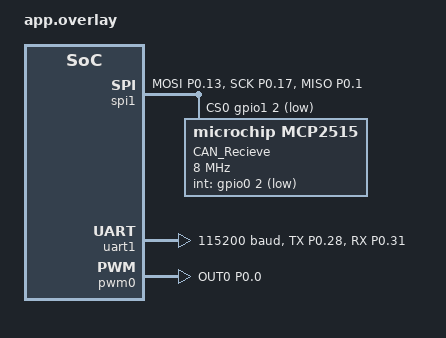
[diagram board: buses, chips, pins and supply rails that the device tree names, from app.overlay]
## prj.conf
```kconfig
CONFIG_STDOUT_CONSOLE=y
CONFIG_UART_ASYNC_API=y 
CONFIG_ADC=y
CONFIG_CAN=y
CONFIG_CAN_MCP2515=y
CONFIG_SPI=y
CONFIG_NEWLIB_LIBC=y 
CONFIG_NEWLIB_LIBC_FLOAT_PRINTF=y 
CONFIG_SERIAL=y   
CONFIG_UART_INTERRUPT_DRIVEN=y
```

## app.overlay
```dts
// Dette er en enhetstre overlay fil. Den brukes for å definere hardware-konfigurasjonen(fenris2024)
// til kernelen under "runtime".(fenris2024)
&spi1 {								//(fenris2024)
	status = "okay";				//(fenris2024)
	pinctrl-0 = <&spi1_default>;	//(fenris2024)
	pinctrl-names = "default";		//(fenris2024)
	cs-gpios = <&gpio1 2 GPIO_ACTIVE_LOW>;			//(fenris2024)
	mcp2515_can: mcp2515@0 {						//(fenris2024)
		compatible = "microchip,mcp2515";			//(fenris2024)
		spi-max-frequency = <8000000>;				//(fenris2024)
		int-gpios = <&gpio0 2 GPIO_ACTIVE_LOW>;		//(fenris2024)
		status = "okay";							//(fenris2024)
		label = "CAN_Recieve";						//(fenris2024)
		reg = <0x0>;								//(fenris2024)
		osc-freq = <16000000>;						//(fenris2024)
		bus-speed = <125000>;						//(fenris2024)
		sjw = <1>;									//(fenris2024)
		prop-seg = <2>;								//(fenris2024)
		phase-seg1 = <7>;							//(fenris2024)
		phase-seg2 = <6>;							//(fenris2024)
		#address-cells = <1>;						//(fenris2024)
		#size-cells = <0>;							//(fenris2024)
	};
}; 	// pinCtrl seksjonen definerer pin konfigurasjonen for de ulike periferene.(fenris2024)

//velger uart1 som det jeg ønsker å konfigurere på den fysiske chippen
&uart1 {

	//setter status som okay så den blir aktivert
	status = "okay";

	//setter baud rate så den matcher det som VESC-firmware bruker
	current-speed = <115200>;

	//for å definere hvilke pins som skal brukes for RX og TX
	pinctrl-0 = <&uart1_default>;

	//setter navn på konfigurasjonen og at den skal brukes som default
	pinctrl-names = "default";
};

&pwm0 {
	status = "okay";
	pinctrl-0 = <&pwm0_default>;
	pinctrl-names = "default";
};

// Én samlet &pinctrl-blokk for alle periferiers pin-konfigurasjon(fenris2024)
// pinCtrl seksjonen definerer pin konfigurasjonen for de ulike periferene. (fenris2024)
// For å vite hvilke GPIO port-nummer og PIN nummer i hver GPIO port som tilhører de ulike pinnene(fenris2024)
// på microbiten sitt GPIO-brett er tabellen på denne nettsiden brukt:(fenris2024)
// https://tech.microbit.org/hardware/edgeconnector/(fenris2024)
&pinctrl {
	spi1_default: spi1_default {
		group1 {
			psels = <NRF_PSEL(SPIM_MOSI, 0, 13)>,
			        <NRF_PSEL(SPIM_SCK, 0, 17)>,
			        <NRF_PSEL(SPIM_MISO, 0, 1)>;
		};
	};

	//for å definere pinne konfigurasjonen for UART1 periferien
	uart1_default: uart1_default {
		
		//lager en gruppe som holder alle pinnevalg for UART1 
		group1 {

			//psels står for pin select og brukes for å koble UART mot fysiske GPIO pinner
			//UART TX skal bruke GPIO port 0 og pinne 28 som tilsvarer p4 på microbit
			//UART RX skal bruke GPIO port 0 og pinne 31 som tilsvarer p3 på microbit
			//denne tabellen er brukt for å forstå dette og referansen er hentet her:
			// https://tech.microbit.org/hardware/edgeconnector/
			psels = <NRF_PSEL(UART_TX, 0, 28)>, //p4
			        <NRF_PSEL(UART_RX, 0, 31)>;   //p3
		};
	};

	pwm0_default: pwm0_default {
		group1 {
			psels = <NRF_PSEL(PWM_OUT0, 0, 0)>; // P0.00 = innebygd speaker
		};
	};
};

// Velger MCP2515 som CAN-enhet(fenris2024)
/ {
	chosen {
		zephyr,canbus = &mcp2515_can;
	};

	aliases {
		pwm-speaker = &pwm0;
	};
};
```

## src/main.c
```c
#include <zephyr/kernel.h>
#include <zephyr/device.h>
#include <stdio.h> //for tilgang til printf()
#include <stdint.h>  //for å bruke faste heltall
#include <stddef.h>  //tilgang til NULL og size_t
#include "vesc_uart.h" //tilgang til funksjoner for å sende RPM til vesc (RS_PROWLTECH)
#include "canbus.h" // tilgang til å hente joystick data fra Can-meldingskø (RS_PROWLTECH)
#include "motorstyring.h"  //beregner og sender motorverdier //(RS_PROWLTECH)

void main(void) {

    //starter UART og venter litt
    uart_start(); //(RS_PROWLTECH)
    k_msleep(100);

    //henter CAN-enhet fra devicetree
    const struct device *const can_dev = get_can_dev();
    if (!can_dev) {
        printf("Error: fant ikke CAN-enhet\n");
        return;
    }

    //starter CAN
    canBegin(can_dev);
    k_msleep(100);

    //Hovedløkka som håndterer innkommende data
    while (1) {
        
        //Henter data fra CAN og sender til motorstyring (RS_PROWLTECH)
        process_can_data();  

        //liten pause
        k_busy_wait(200);  
    }
}
```

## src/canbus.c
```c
#include "canbus.h"
#include "motorstyring.h"

#include <zephyr/sys/byteorder.h>  // sys_le16_to_cpu()
#include <zephyr/kernel.h>         // K_MSGQ_DEFINE, k_uptime_get()
#include <zephyr/drivers/can.h>    
#include <stdio.h>
#include <string.h>
#include <math.h>

//DET SOM ER KODET AV RAMEEZ AHMED SADIQ (PROWLTECH2025) ER KOMMENTERT MED (RS_PROWLTECH)

//can_dev functions(fenris2024)
const struct device *const get_can_dev(void){ // Fuction responsible for finding and accessing the CAN device(fenris2024)
    return DEVICE_DT_GET(DT_CHOSEN(zephyr_canbus)); // Returns the CAN device by looking for it in the devicetree/ overlay file under "chosen"(fenris2024)
} 

//can_receive functions(fenris2024)
K_MSGQ_DEFINE(can_msgq, sizeof(struct can_ret_data), CAN_MSGQ_SIZE, 4); // Message queue function for putting the joystick values received from the com controller node in(fenris2024)

//variabel for å lagre tidspunktet den siste CAN-meldingen ble mottatt som var gyldig
//den blir oppdatert i can_rx_callback
static int64_t last_can_rx_time = 0;

//returnerer verdien som er lagret i last_can_rx_time
int64_t get_last_can_rx_time(void) {
    return last_can_rx_time;
}

//SKREVET AV FENRIS(2024)
void canBegin(const struct device *can_dev){ // Function for startring up and initializing the CAN device(fenris2024)
    //const struct device *const can_dev = get_can_dev(); // Getting the CAN device connected to the system(fenris2024)
    
    if (!can_dev) { // Test that checks if the CAN device is found. If not it will print the error message and return(fenris2024)
        printk("Cannot find CAN device!\n"); //(fenris2024)
        return; //(fenris2024)
    }

    int ret = can_start(can_dev); // Starting up the CAN device (fenris2024)
    if (ret != 0) { // Check to see if the CAN device has started, if not it will print the error message and return (fenris2024)
        printf("Failed to start CAN controller: Error %d\n", ret); //(fenris2024)
        return; //(fenris2024)
    }
    if (setup_can_filter(can_dev, can_rx_callback, NULL) < 0) { // Check to see if the CAN filter is set up or not (fenris2024)
        printk("Failed to add CAN filter\n"); //(fenris2024)
        return; //(fenris2024)
    }

    
}
//skrevet av Fenris2024
int setup_can_filter(const struct device *dev, can_rx_callback_t rx_cb, void *cb_data){ // Function for setting up the can filter, taking in the CAN device, callback function and cb data(fenris2024)
    struct can_filter filter = { // CAN filter for the joystick values(fenris2024)
        .flags = CAN_FILTER_DATA | CAN_FILTER_IDE, // Setting the flags for the filter, where the filter matches the data frames, and that the filter matches CAN frames with extended ID (29-bit)(fenris2024)
	    .id = RECEIVE_ID, // Filter ID set to match the sender ID of the joystick values, defined in the header file(fenris2024)
	    .mask = CAN_EXT_ID_MASK // Filter bit mask for an extended 29-bit CAN ID(fenris2024)
    };
    return can_add_rx_filter(dev, rx_cb, cb_data, &filter); // Returning the rx filter(fenris2024)
}

// Callback for hver mottatt CAN‐frame
void can_rx_callback(const struct device *dev,
                     struct can_frame *frame,
                     void *user_data) {
    // Sjekk at ID og data‐lengde er korrekt (4×2 bytes = 8)
    if (frame->id == RECEIVE_ID && frame->dlc == 8) {
        // Dekode fire int16_t verdier, små‐endian til CPU‐endian
        int16_t f_i = sys_le16_to_cpu(*(int16_t *)&frame->data[0]);
        int16_t v_i = sys_le16_to_cpu(*(int16_t *)&frame->data[2]);
        int16_t r_i = sys_le16_to_cpu(*(int16_t *)&frame->data[4]);
        int16_t s_i = sys_le16_to_cpu(*(int16_t *)&frame->data[6]);

        // Pakk om til flytall (skaler fra 0–100 til 0.0–1.0)
        struct can_ret_data data = {
            .fart     = f_i  / 100.0f,
            .vinkel   = v_i  / 100.0f,
            .rotasjon = r_i  / 100.0f,
            .sving_js = s_i  / 100.0f,
        };

        last_can_rx_time = k_uptime_get();  // ← registrer tid
        // Legg meldingen i kø, håndteres i hovedløkken
        k_msgq_put(&can_msgq, &data, K_NO_WAIT);
    }
}

//can_send functions //skrevet av fenris(2024)

/* Function to convert CAN state to readable string */ //(fenris2024)
const char* can_state_to_str(enum can_state state) { //(fenris2024)
    switch (state) { //(fenris2024)
        case CAN_STATE_ERROR_ACTIVE: //(fenris2024)
            return "ERROR ACTIVE"; //(fenris2024)
        case CAN_STATE_ERROR_WARNING: //(fenris2024)
            return "ERROR WARNING"; //(fenris2024)
        case CAN_STATE_ERROR_PASSIVE: //(fenris2024)
            return "ERROR PASSIVE"; //(fenris2024)
        case CAN_STATE_BUS_OFF: //(fenris2024)
            return "BUS OFF"; //(fenris2024)
        case CAN_STATE_STOPPED: //(fenris2024)
            return "STOPPED"; //(fenris2024)
        default: //(fenris2024)
            return "UNKNOWN"; //(fenris2024)
    }
}

//skrevet av fenris2024
void send_string(const struct device *can_dev, const char *str){ // Function for sending a string over the bus(fenris2024)
    struct can_frame frame; // Using a CAN frame struct called frame(fenris2024)
    memset(&frame, 0, sizeof(frame)); // Zeros out the frame to ensure that all bits starts in a knwown state(fenris2024)

    frame.flags = CAN_FRAME_IDE; // Use extended identifier(fenris2024)
    frame.id = MSG_ID; // Using the message ID for the frame that is defined in the header file(fenris2024)
    frame.dlc = strlen(str);  // Set the DLC to the string length(fenris2024)
    memcpy(frame.data, str, frame.dlc);  // Copies the string to the CAN frame data field(fenris2024)

    if (can_send(can_dev, &frame, K_SECONDS(10), NULL, NULL) != 0) { // If test that sends the frame on the bus, and prints out a warning if it failes(fenris2024)
            printk("Failed to send frame\n"); //(fenris2024)
        } /*else {
            printk("Frame sent\n");
        }*/ //(fenris2024)
}

//(RS_PROWLTECH)
// funksjonen sjekker om det finnes noen nye CAN-meldinger i meldingskøen
//Hvis meldingen finnes blir den pakket ut og sendt videre til motorstyringsystemet
void process_can_data(void) { 

    //oppretter en variabel av typen can_ret_data, som kan holde på dataen som hentes ut av meldingskøen
    //struct skal samle dataene fart, vinkel, rotasjon og sving_js
    struct can_ret_data data;

    // Prøver å hente neste CAN-melding uten å blokkere og bruker K_NO_WAIT for å ikke vente, bare sjekke om noe er klart
    if (k_msgq_get(&can_msgq, &data, K_NO_WAIT) == 0) {

        // Skriver ut dataen som er mottatt, verdiene vises med to desimaltegn
        printf("[Fra PI til Microbit] fart=%.2f, vinkel=%.2f, rot=%.2f, sving_js=%.2f\n",
               data.fart, data.vinkel,
               data.rotasjon, data.sving_js);

        // De mottatte verdiene sendes videre til motorstyring for beregning
        kontroller_motorene(
            data.fart,
            data.vinkel,
            data.rotasjon,
            data.sving_js
        );
    }
}
```

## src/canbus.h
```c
#ifndef CANBUS_H
#define CANBUS_H

#include <zephyr/drivers/can.h>  //(fenris2024)
#include <zephyr/kernel.h>       //for å få tilgang til zephyr sine funksjoner k_busy_wait() og k_msleep(), brukes til venting og pauser
#include <stdint.h>              // Standard faste heltallstyper

//can_receive functions(fenris2024)
#define RECEIVE_ID 0x0000001 // RECEIVE ID (fenris2024)
#define CAN_MSGQ_SIZE 10 // Message queue size (fenris2024)
//can_send functions
#define MSG_ID 0x0000002 // Message ID (fenris2024)

//(RS_PROWLTECH)
//definerer en struct som samler og holder på all data som mottas fra fjernkontrollen via CAN
struct can_ret_data {

    //hvor fort bilen skal bevege seg. 
    // 0.0 = full stopp
    // 1.0 = maks fart 
    float fart;      

     //hvilken retning bilen skal bevege seg i (0 til 2pi radianer) 
    // 0 = rett frem
    // pi/2 = mot venstre
    // pi =  bakover
    // 3pi/2 =  mot høyre
    float vinkel;    

    //Den rotasjonen vi ønsker rundt egen akse
    // -1.0 = roter mot venstre
    // 0.0 = ingen rotasjon
    // 1.0 = roter mot høyre
    float rotasjon;

    //ekstra finjustering for sving fra en egen styrespak, for at bilen skal svinge som en ekte bil.
    float sving_js;
//(RS_PROWLTECH - SLUTT)
}; 

void canBegin(const struct device *can_dev); // Function for initializing and starting the CAN device(Fenris2024)

void canState(const struct device *can_dev); // Function for checking the CAN state(fenris2024)

//can_dev functions
const struct device *const get_can_dev(void); // Function for getting the CAN device(fenris2024)

extern struct k_msgq can_msgq; // Message queue structure(fenris2024)

int setup_can_filter(const struct device *dev, can_rx_callback_t rx_cb, void *cb_data); // Function for setting up the can filter, taking in the CAN device, callback function and cb data(fenris2024)

void can_rx_callback(const struct device *dev, struct can_frame *frame, void *user_data); // Function for checking CAN frames on the bus(fenris2024)

void process_can_data(void); // Function for processing the receievd CAN data (fenris)


void send_string(const struct device *can_dev, const char *str); // Function for sending a string over the bus(fenris2024)

//for å returnere når CAN mottok en melding sist. 
int64_t get_last_can_rx_time(void);  

const char* can_state_to_str(enum can_state state); // Function that converts the CAN states to string(fenris2024)

#endif // CANBUS_H
```

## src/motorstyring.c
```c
#include "motorstyring.h"
#include "vesc_uart.h"
#include <stdio.h>
#include <math.h> //for å få tilgang til mattefunksjoner som cos(),sin(),fmaxf() og fabsf()
#include <zephyr/kernel.h> //for å få tilgang til zephyr sine funksjoner k_busy_wait() og k_msleep(), brukes til venting og pauser

//MOTORSTYRING.C  ER KODET AV RAMEEZ AHMED SADIQ (PROWLTECH2025)

#define NUM_MOTORS 4 //definerer antall motorer på bilen
#define MAX_RPM 20000  // definerer at motorene kan maks rotere 20 000 rpm

//Funksjon som regner ut hvor mye hver motor skal bidra med for å oppnå ønsket fart, vinkel, rotasjon og sving
struct MotorVerdier kalkulerMotorVerdier(

    //hvor fort bilen skal bevege seg. 
    // 0.0 = full stopp
    // 1.0 = maks fart 
    float fart,

    //hvilken retning bilen skal bevege seg i (0 til 2pi radianer) 
    // 0 = rett frem
    // pi/2 = mot venstre
    // pi =  bakover
    // 3pi/2 =  mot høyre
    float vinkel,

    //Den rotasjonen vi ønsker rundt egen akse
    // -1.0 = roter mot venstre
    // 0.0 = ingen rotasjon
    // 1.0 = roter mot høyre
    float rotasjon,

    //ekstra finjustering for sving fra en egen styrespak, for at bilen skal svinge som en ekte bil.
    float sving_js){ 

    //Hvis bilen står stille og RB/LB trykkes så vil bilen rotere med en fast hastighet.
    //trykkes en annen kjøreknapp så stoppes rotasjonen.
    if (fart == 0.0f && rotasjon != 0.0f) {

        //bruker 0.3f fordi maks rpm er satt til 20tusen, ved å bruke 0.3 * 20tusen
        //så blir rotasjonsfarta 6tusen rpm, fast og kontrollert.
        float rotering;
        if (rotasjon > 0) {
            rotering = 0.3f;
        } else {
            rotering = -0.3f;
        } 

        return (struct MotorVerdier) {

            //foran venstre (går bakover, negativ retning)
            -rotering, 

            // foran høyre (går fremover, positiv retning)
            rotering, 

            //bak venstre (går bakover, negativ retning)
            -rotering,
            
            //bak høyre (går fremover, positiv retning)
            rotering

            
        };
    }

    
    //regner ut hvor mye bevegelse som skal være i X-retning (sideveis)
    //Omgjør fart og vinkel til en x-verdi
    //sinf(vinkel) gir hvor mye som skal gå i X-retning
    float x = fart * sinf(vinkel);

    //regner ut hvor mye bevegelse som skal være i Y-retning (fremover/bakover)
    //Omgjør fart og vinkel til en Y-verdi
    //cosf(vinkel) gir hvor mye som skal gå i Y-retning
    // X og Y tilsammen er en bevegelsesvektor som
    float y = fart * cosf(vinkel);

    //for å legge til ekstra sidebevegelse (sving) fra joystick for svinging
    //sving_js ganges med 0.5f for å unngå for brå/kraftig svingeffekt.
    x += sving_js * 0.5f;

    //for å regne ut hvor mye bidrag hvert hjul må tilføre for å kunne bevege fremover, bakover eller sideveis
    //verdiene y og x er fremdrift og sidebevegelse

    //foran venstre (kombinerer retning fremover og høyre bevegelse)
    float foran_venstre = y + x;

    //foran høyre hjul (kombinerer retning fremover og venstre bevegelse)
    float foran_høyre = y - x;

    //bak_venstre (kombinerer retning bakover og venstre bevegelse)
    float bak_venstre = y - x;

    //bak høyre (kombinerer retning bakover og høyre bevegelse)
    float bak_høyre = y + x;
    

    //Etter at det har blitt beregnet hvor mye hvert hjul må bidra med er det viktig å normalisere verdiene
    //normaliserer verdiene for å unngå at noen av verdiene overstiger -0.1 eller 0.1
    //overstiger de dette kan det føre til uforventet bevegelser

    //finner den største absoluttverdien av motorverdiene.
    //bruker funksjonen fmaxf som kan sammenligne to verdier om gangen
    //bruker fmaxf på de to hjulene foran for å finne den største verdien av de to hjulene foran
    //bruker fmaxf på de to hjulene bak for å finne den største verdien av de to hjulene bak
    //bruker deretter fmaxf på begge fmaxf verdiene for å finne hvilken verdi 
    //som er størst av den største foran og største bak
    //den største verdien av de fire legges deretter i "maxverdi"
    float maksverdi = fmaxf(
        fmaxf(fabsf(foran_venstre), fabsf(foran_høyre)), fmaxf(fabsf(bak_venstre), fabsf(bak_høyre)));

    //hvis maksverdi er større enn 1.0f må vi skalere og dette gjøres ved å dele alle 
    //hjulverdiene på maksverdien vi fant. 
    if (maksverdi > 1.0f) {
        foran_venstre /= maksverdi;
        foran_høyre /= maksverdi;
        bak_venstre /= maksverdi;
        bak_høyre /= maksverdi;
    }

    //returnerer de beregnede verdiene vi fikk etter normalisering som en struct
    //og har sikret at ingen av hjulverdiene overstiger 1.0.
    return (struct MotorVerdier) {
        foran_venstre,
        foran_høyre,
        bak_venstre,
        bak_høyre
    };
}

//lager en statisk variabel som husker verdien mellom hver gang funksjonen kalles og brukes til
//å gjøre overgangen mykere ved å gradvis nærme seg ønsket fart slik at 
//bilen ikke rykker, bråstopper eller bråstarter når joystick-verdier endres.
static float gjeldende_fart = 0.0f;

//samme prinsipp som nevnt over
static float gjeldende_vinkel = 0.0f;

//samme prinsipp som nevnt over
static float gjeldende_sving_js = 0.0f;

//for å angi hvor mye verdiene skal endres gradvis per funksjons kall
static const float endring = 0.2f;

//hovedfunksjonen som styrer motorene basert på joystick-verdier i form av "ønsket_"
int kontroller_motorene(float ønsket_fart, float ønsket_vinkel, float ønsket_rotasjon, float sving_js) {
    
    //skriver ut alle joystick-verdier i sanntid for å overvåke.
    printf("fart=%.2f, vinkel=%.2f, rotasjon=%.2f, sving=%.2f\n", ønsket_fart, ønsket_vinkel, ønsket_rotasjon, sving_js);

    
    //Her sjekkes det om gjeldende_fart er lavere enn ønsket_fart
    if (gjeldende_fart < ønsket_fart)

        //hvis gjeldende_fart er lavere enn ønsket_fart, økes farten gradvis med "endring", for å gi en mykere akselerasjon
        //farten økes med 0.2f og deretter blir fminf funksjonen for å sjekke hvem av gjeldende_fart+endring
        //og ønsket_fart er minst. gjeldende_fart lagrer verdien til den minste for å unngå at den overstiger 
        //ønsket_fart, i siste steg.
        gjeldende_fart = fminf(gjeldende_fart + endring, ønsket_fart);

        //sjekkes om gjeldende_fart er større enn ønsket_fart
    else if (gjeldende_fart > ønsket_fart)

        //bruker fmaxf funksjonen til å lagre den største farta av gjeldende_fart-endring og ønsket_fart
        //det gjøres hvis farta er høyere enn den joystick-verdien bruker sender så det gradvis
        //går ned mot ønsket fart og unngå å overstige ønsket_fart i siste steg
        gjeldende_fart = fmaxf(gjeldende_fart - endring, ønsket_fart);
    
    //sjekker om gjeldende_vinkel er lavere enn ønsket_vinkel
    //hvis den er det, økes vinkelen litt og litt med "endring" som er 0.2f for å gi en jevn overgang
    //dette gir en gradvis dreining i stede for brå endring i retning
     if (gjeldende_vinkel < ønsket_vinkel)
        gjeldende_vinkel += endring;
    
    //hvis gjeldende_vinkel er høyere enn ønsket_vinkel, reduseres den litt og litt
    //dette gjør at bilen roterer jevnt tilbake i motsatt retning
    else if (gjeldende_vinkel > ønsket_vinkel)
         gjeldende_vinkel -= endring;


    //sjekker om gjeldende_sving_js er lavere enn verdien fra joystick-sving
    //hvis den er det, så økes verdien gradvis for å få en myk og kontrollert sving
    //ungår at bilen plutselig rykker seg til siden
    if (gjeldende_sving_js < sving_js)
        gjeldende_sving_js += endring;


    //hvis gjeldende_sving_js er høyere enn sving_js blir den redusert gradvis
    //dette gir en jevn tilbakeføring når bruker slipper joystick spaken tilbake til midten
    else if (gjeldende_sving_js > sving_js)
        gjeldende_sving_js -= endring;  

    //hvis bilen står stille og bruker ønsker rotasjon og trykker eller holder rotasjonknapp inne
    if (gjeldende_fart == 0.0f && ønsket_rotasjon != 0.0f){

        //hvis ønsket_rotasjon er større enn 0 så roterer bilen rolig mot høyre
        //hvis ønsket_rotasjon er mindre enn 0 så roterer bilen rolig mot venstre
        //dette fordi negativ verdi gir rotasjon mot venstre og
        //positiv verdi gir  mot høyre
        float rotering;
        if (ønsket_rotasjon > 0) {
            rotering = 0.3f;
        } else {
            rotering = -0.3f;
        }

        //definerer hvordan hvert hjul skal rotere for å få rotasjon rundt sin egen akse
        //hvis verdi er 0.3 får vi hjulverdiene -0.3, 0.3, -0.3, 0.3 som gir rotasjon mot høyre
        //Hvis verdi er -0.3 får vi hjulverdiene 0.3, -0.3, 0.3, -0.3 som gir rotasjon mot venstre
        struct MotorVerdier rotasjon_motorverdier = {
            -rotering, //foran venstre
             rotering, //foran høyre
            -rotering, //bak venstre
             rotering  // bak høyre

        };
    
        //gjør motorbidrag om til faktisk RPM-verdier fra -1.0 til 1.0
        //Bruker definert max rpm for å skalere. at for eks hvis motorbidrag er 0.3, blir rpm verdien 6000 rpm
        //alle verdier typecastes til int32_t fordi vesc_protokollen bruker heltall for RPM
        //denne er kun for rotasjon og sjekkes først fordi den kjøres fra stillestående tilstand
        int32_t rpm[NUM_MOTORS] = {
            (int32_t)(rotasjon_motorverdier.foran_venstre * MAX_RPM),
            (int32_t)(rotasjon_motorverdier.foran_høyre * MAX_RPM),
            (int32_t)(rotasjon_motorverdier.bak_venstre * MAX_RPM),
            (int32_t)(rotasjon_motorverdier.bak_høyre * MAX_RPM),
        
        };
        
        //lager en array med ID for hver VESC-enhet. 
        //0 er master enheten som er koblet direkte til microbit via UART
        //1,2,3 er slave-enheter som styres via CAN-forwarding
        uint8_t vesc_id[NUM_MOTORS] = {0, 1, 2, 3};

        //for løkke som går igjennom alle motorene en etter en
        for (int i = 0; i < NUM_MOTORS; i++) {

            //hvis vesc_id[i] er 0 så sendes rpm med "send_rpm()"-funksjonen 
            //send-rpm() sender vesc-pakken som er ment for master-enheten
            //fordi 0 er master-enhet
            if(vesc_id[i] == 0) {
                send_rpm(rpm[i]);

            //hvis ID ikke er 0 så brukes send_rpm_videre funksjonen
            //fordi den sender vesc-pakken som er ment for slave-enhetene
            } else {
                send_rpm_videre(vesc_id[i], rpm[i]);
            }

            //liten pause mellom hver sending for å unngå at VESC-enhetene blir overbelastet
            k_msleep(1);

        }    
        //returnerer 0 så det blir bekreftet at funksjonen kjørte uten feil
        return 0;
    }

//Her kalles funksjonen kalkulerMotorVerdier() for å beregne hvor mye hver motor skal bidra
//gjeldende_fart og gjeldende_vinkel brukes for å styre retning og fart
//rotasjon blir satt til 0 fordi bilen ikke skal rotere rundt egen akse i denne delen
//gjeldende sving_js brukes for å legge til jevn sving fra joystick
struct MotorVerdier gjeldendeMotorVerdier = kalkulerMotorVerdier(
    gjeldende_fart,
    gjeldende_vinkel,
    0.0f,
    gjeldende_sving_js
);

//gjør motorbidrag om til faktisk RPM-verdier fra -1.0 til 1.0
//Bruker definert max rpm for å skalere. Hvis motorbidrag er 0.3, blir rpm verdien 6000 rpm
//alle verdier typecastes til int32_t fordi vesc_protokollen bruker heltall for RPM
//denne brukes under vanlig bevegelse basert på joystick-input
int32_t rpm_gjeldende[NUM_MOTORS] = {
        (int32_t)(gjeldendeMotorVerdier.foran_venstre * MAX_RPM),
        (int32_t)(gjeldendeMotorVerdier.foran_høyre * MAX_RPM),
        (int32_t)(gjeldendeMotorVerdier.bak_venstre * MAX_RPM),
        (int32_t)(gjeldendeMotorVerdier.bak_høyre * MAX_RPM),
        
};

//lager en array med ID for hver VESC-enhet. 
//0 er master enheten som er koblet direkte til microbit via UART
//1,2,3 er slave-enheter som styres via CAN-forwarding
uint8_t vesc_id_gjeldende[NUM_MOTORS] = {0, 1, 2, 3};

//for løkke som går igjennom alle motorene en etter en
for (int i = 0; i < NUM_MOTORS; i++) {

    //hvis vesc_id[i] er 0 så sendes rpm med "send_rpm()"-funksjonen 
    //send-rpm() sender vesc-pakken som er ment for master-enheten
    //fordi 0 er master-enhet
    if(vesc_id_gjeldende[i] == 0) {
        send_rpm(rpm_gjeldende[i]);
    
    //hvis ID ikke er 0 så brukes send_rpm_videre funksjonen
    //fordi den sender vesc-pakken som er ment for slave-enhetene
    } else {
        send_rpm_videre(vesc_id_gjeldende[i], rpm_gjeldende[i]);
        }

        //liten pause mellom hver sending for å unngå at VESC-enhetene blir overbelastet
        k_msleep(1);

    }   
    //returnerer 0 så det blir bekreftet at funksjonen kjørte uten feil 
    return 0;
}
```

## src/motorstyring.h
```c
#ifndef MOTORSTYRING_H
#define MOTORSTYRING_H

//MOTORSTYRING.H ER SKREVET AV RAMEEZ SADIQ (PROWLTECH2025)
// Struct som holder output‐verdier for de fire hjulene
struct MotorVerdier {
    float foran_venstre;
    float foran_høyre;
    float bak_venstre;
    float bak_høyre;
};

// Kalkulerer motor‐verdier for fart, vinkel, rotasjon og sving_js
struct MotorVerdier kalkulerMotorVerdier(
    float fart,
    float vinkel,
    float rotasjon,
    float sving_js
);

// funksjon som tar inn joystick‐data og sender RPM til hjul
int kontroller_motorene(
    float fart,
    float vinkel,
    float rotasjon,
    float sving_js
);

#endif // MOTORSTYRING_H
```

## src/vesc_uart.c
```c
#include "vesc_uart.h" 
#include <stdio.h>
#include <string.h>
#include <zephyr/drivers/uart.h> // for å få tilgang til zephyr sin UART-driver og UART-funksjoner som uart_poll_out(), funksjonen sender en og en byte via UART
#include <zephyr/kernel.h> //for å få tilgang til zephyr sine funksjoner k_busy_wait() og k_msleep(), brukes til venting og pauser
#include <zephyr/device.h> //for å få tilgang til zephyr sine funksjoner DEVICE_DT_GET() og device_is_ready(), henter og sjekker status på enheter
#include <zephyr/devicetree.h> //for å få tilgang til DT_NODELABEL(), som brukes for å hente uart konfigurasjonen fra devicetreet

#define UART_NODE_LABEL DT_NODELABEL(uart1) //zephyr ser i devicetree og i min app.overlay fil etter en node som heter "uart1" og lagrer referansen i UART_NODELABEL

//HELE VESC_UART.C ER SKREVET AV (RAMEEZ SADIQ PROWLTECH)

//Lager en peker og kalt uart1_enhet, den skal holde på UART-enheten. Den starter som null og får verdi senere av DEVICE_DT_GET
//uart1_enhet er
static const struct device *uart1_enhet = NULL; 

//denne funksjonen tar inn en array med bytes, som er selve dataen som skal sendes, og lengden defineres, altså hvor hvor mange bytes dataen består av.
//Den skal returnere en CRC-verdi som er på 16 bit. CRC-verdien skal brukes til å sjekke at dataen i pakken ikke er skadet
//Lager en peker til array med bytes og bruker const for å sikre at innholdet ikke endres, og bruker size_t for å definere lengden på data
//lager et register kalt crc for bytene med startverdi 0, når bytene behandles bygges CRC-verdien opp.
static uint16_t crc16_beregning(const uint8_t *data, size_t len){

    //når alle bytes er behandlet returneres CRC som en kontrollsum.
    uint16_t crc = 0;
    

    //for løkke som går igjennom hver byte i data-array, starter på indeks 0 og fortsetter til alle bytes (len) er behandlet
    for (size_t i = 0; i < len; i++) {
    
        //data[i] brukes for å hente en byte fra data-arrayet og caster til 16-bit så den kan brukes med CRC-registeret
        // <<8 brukes for å flytte byten 8 biter til venstre og plasseres i øverste halvdel i CRC-registeret
        //bruker XOR for å blande byten inn i CRC-registeret. denne sammenlingningen gjør at CRC blir endret basert på ny data som blir lagt inn.
        crc ^= (uint16_t)data[i] << 8;
        
        //bruker en for løkke for å gå igjennom alle 8 bit i byten - CRC blir beregnet bit for bit. 
        for (int bit = 0; bit < 8; bit++) {

            //sjekker om den øverste biten(den mest signifikante biten, som er til venstre) i CRC-registeret er 1
            if (crc & 0x8000) {

                //Hvis den er 1, så betyr det at CRC-registeret inneholder et aktivt polynomledd, så skiftes CRC-registeret et steg til venstre og CRC-registeret blir XOR'a med polynomet 0x1021
                crc = (crc << 1) ^ 0x1021;

                //Hvis den er 0, blir registeret bare skiftet et steg til venstre og ingen XOR blir utført
            } else { 
                crc <<= 1;
            }
        }
    }
    //Returnerer hele CRC-registeret etter behandlingen av hele datasettet
    return crc;
}

    //Denne funksjonen starter opp UART1, henter UART1 enheten fra devicetree og sjekker at den er klar
    void uart_start(void){

        //Henter UART1 fra devicetreet og lagrer dens referanse i uart1_enhet
        uart1_enhet = DEVICE_DT_GET(UART_NODE_LABEL);

        //Sjekker om den er klar, hvis den ikke er klar printes det ut en beskjed om det, device_is_ready er en zephyr funksjon.
        if (!device_is_ready(uart1_enhet)) {
            printf("UART1 er ikke klar\n");

        //Hvis den er klar, printes det ut en melding om at UART1 har startet
        } else {

            //uart1_enhet peker til en struct device i Zephyr, name har navnet som har blitt satt som navnet på enheten i devicetree
            printf("UART1 har startet: %s\n", uart1_enhet->name);

        }
}    

//funksjon for å sende RPM-verdi
void send_rpm(int rpm) {

    //sjekker at UART har startet og hvis ikke så printes beskjed om det og funksjonen avsluttes
    if (!uart1_enhet) {
        printf("UART har ikke startet\n");
        return;
    }


    //Bygger innholdet som skal puttes i rammen, består av kommando og data
    // lager en array på 5 bytes for informasjonen som skal sendes. 1 byte for kommando og 4 bytes for selve dataen som er RPM-verdi
    //VESC firmware definerer rpm-verdi som int32_t
    uint8_t kommando_og_data[1 + sizeof(int32_t)];

    // her setter vi hva den første byten er, det er kommandoen som vi gir til VESC-enheten, at den skal endre RPM-verdien til det vi ønsker.
    kommando_og_data[0] = COMM_SET_RPM;

    //Dette gjør rpm verdien fra little-endian til big-endian, som betyr at rekkefølgen på bytene i tallet/verdien vi sender snus
    //Dette gjør at første tallet blir til den mest betydningsfulle fordi det VESC-enheten leser tallene i big-endian formatet.
    int32_t rpm_big_endian = __builtin_bswap32(rpm);

    //bruker memory copy funksjonen for å kopiere antall bytes fra en plass i minnet til en annen plass
    //[0] ble brukt for å putte kommando , bruker [1] for å putte selve rpm verdien i de siste 4 bytene.
    //lager to pekere sånn at memcpy funksjonen kopierer 4 byte fra rpm_big_endian og putter i kommando_og_data arrayet.
    memcpy(&kommando_og_data[1], &rpm_big_endian, sizeof(rpm_big_endian));

    // her lager jeg en variabel som heter crc den bruker funksjonen for CRC-beregning, returnerer en 16bit verdi. denne verdien lagres da i CRC variabelen
    //verdien er kontrollsummen for å se om dataen i rammen er skadet.
    uint16_t crc = crc16_beregning(kommando_og_data, sizeof(kommando_og_data));

    //Bygger rammen til hele datapakken så den følger VESC-protokollen, 12 bytes.
    //I rammen er det: 
    //1 startbyte
    //1 byte for lengden
    //antall bytes på selve innholdet(kommando og rpm) 
    //2 bytes for CRC
    //1 sluttbyte
    uint8_t ramme[2 + sizeof(kommando_og_data) + 2 + 1];

    //lager en variabel for å ha kontroll hvor i rammen(arrayet) vi skal legge inn neste byte
    size_t indeks = 0;

    //første byte for rammen som er startbyte (starten på rammen)
    ramme[indeks++] = VESC_STX;

    //Andre byte i pakken for å angi hvor mange byte det er i innholdet (lengden)
    ramme[indeks++] = (uint8_t)sizeof(kommando_og_data);

    //kopierer all data fra kommando_og_data og putter i ramme[indeks] og øker etterpå indeksen for å peke videre så hele innholdet kommer med
    memcpy(&ramme[indeks], kommando_og_data, sizeof(kommando_og_data)); indeks += sizeof(kommando_og_data);

    //setter inn den øverste byten av CRC-sjekksummen
    ramme[indeks++] = (uint8_t)(crc >> 8);

    //legger inn den nederste(minste) byten av CRC-sjekksummen
    ramme[indeks++] = (uint8_t)(crc & 0xFF);

    //legger til sluttbyte for å indikere slutten på rammen
    ramme[indeks++] = VESC_ETX;


    //bruker en for løkke for å sende 1 og 1 byte over til VESC-enheten
    //uart_poll_out sender en byte og venter til linjen er klar før neste blir sendt
    for (size_t i = 0; i < indeks; i++){
    uart_poll_out(uart1_enhet, ramme[i]);

    //har en liten pause mellom hver byte så VESC ikke mister data under overføringen
    k_busy_wait(100); //100 mikrosekunder mellom bytes
    }

    //printer ut hvor mange RPM som har blitt sendt
    printf("RPM-pakke sendt: %d RPM\n", rpm);
}

//denne funksjonen tar inn 2 parameter 
//en VESC-enhet_id som parameter,så den vet hvilken spesifikk VESC-enhet den skal sende til
//og den tar inn en RPM verdi som parameter, det er denne verdien som skal sendes til VESC-enheten
void send_rpm_videre(uint8_t VESC_enhet_id, int32_t rpm) {

    //Sjekker at UART har startet og hvis ikke så sender den ikke data
    if (!uart1_enhet) {
        return;
    }

    //siden C bruker little endian(minst signifikante) først, men VESC-protocol krever big endian(mest signifikante) først
    //kompilatoren har en innebygget funksjon som gjør denne endringen, derfor brukes __builtin_bswap32
    int32_t rpm_big_endian = __builtin_bswap32(rpm);

    //lager et array som heter kommando_og_data som inneholder VESC-data vi skal sende på totalt 7 bytes
    //første byte for COMM_FORWARD_CAN
    //andre byte for VESC_enhet_id
    //tredje byte for COM_SET_RPM
    //4 bytes for rpm-verdien
    uint8_t kommando_og_data[1 + 1 + 1 + sizeof(rpm_big_endian)];

    //plass brukes for å fortelle hvor i arrayet vi er, og starter på plass 0
    size_t plass = 0; 
    
    //legger COM_FORWARD_CAN i plass 0 (første byte) og øker plass med 1 (flytter til neste plass på array)
    kommando_og_data[plass++] = COMM_FORWARD_CAN;

    //legger VESC_enhet_id i plass 1 (andre byte) og øker plass med 1 (flytter til neste plass på array)
    kommando_og_data[plass++] = VESC_enhet_id;

    //legger COM_SET_RPM i plass 2 (tredje byte) og øker plass med 1 (flytter til neste plass på array)
    kommando_og_data[plass++] = COMM_SET_RPM;

    //bruker memcpy funksjonen til å kopiere bytes fra et sted til et annet
    //oppgir først hvor det skal kopieres til, kommando_og_data arrayet og den plassen vi har kommet til, "&" brukes å angi adressen
    // oppgir deretter hvor vi skal kopiere fra som er rpm_big_endian og "&" brukes for å hente adressen til første byten
    // oppgir deretter hvor mange bytes som skal kopieres og da brukes sizeof(rpm_big_endian)
    memcpy(&kommando_og_data[plass], &rpm_big_endian, sizeof(rpm_big_endian));

    //nå som 4 bytes til har blitt lagt inn må vi flytte plassen på arrayet til slutten så ikke noe blir overskrevet hvis det senere skal legges til flere bytes.
    //bruker sizeof(rpm_big_endian) her også fordi det i teorien betyr å flytte plassen 4 bortover siden den er på 4 bytes.
    plass += sizeof(rpm_big_endian);

    //bruker funksjonen crc16_beregning for å beregne en crc-sjekksum 
    //for å sikre at kommandoen og dataen som sendes ikke er skadet eller endret underveis
    //bruker sizeof så den bruker lengden til kommando_og_data (7 bytes)
    uint16_t crc = crc16_beregning(kommando_og_data, sizeof(kommando_og_data));

    //lager et array for datapakken som skal videresendes til VESC-enhet
    //pakken er på totalt 12 bytes
    //1 for startbyte
    //1 for lengden
    //7 for innholdet(COMM_FORWARD_CAN),(VESC_enhet_id),(COM_SET_RPM)(rpm-verdi)
    //2 for crc
    //1 for sluttbyte
    uint8_t ramme[ 2 + sizeof(kommando_og_data) + 2 + 1];

    //setter startposisjon i rammen på indeks 0 så innlegging av bytes starter her
    size_t indeks = 0;

    //flytter posisjon med en og legger inn startbyte
    ramme[indeks++] = VESC_STX;

    //legger inn 1 byte for lengden på selve innholdet (teller ikke med startbyte,sluttbyte,crc)
    ramme[indeks++] = (uint8_t)sizeof(kommando_og_data);

    //kopierer det som er i kommando_og_data, antall bytes som må kopieres, og legger det inn i ramme
    memcpy(&ramme[indeks], kommando_og_data, sizeof(kommando_og_data)); 

    //flytter posisjon i array til slutten, utifra lengden på kommando_og_data (7 bytes)
    indeks += sizeof(kommando_og_data);

    //flytter posisjon med 1 så det vi la inn ikke blir overskrevet og legger inn CRC-register (mest signifikante bit først)
    ramme[indeks++] = (uint8_t)(crc >> 8);

    //flytter posisjon og legger inn i CRC-register (den minste signifikate bit)
    ramme[indeks++] = (uint8_t)(crc & 0xFF);

    //flytter posisjon og legger inn sluttbyte for å indikere slutten på rammen
    ramme[indeks++] = VESC_ETX;

    //bruker for løkke for å iterere over alle bytes
    for (size_t i = 0; i < indeks; i++) {

        //bruker denne funksjonen til å sende en byte om gangen via UART
        uart_poll_out(uart1_enhet, ramme[i]);

        //pause på 300 mikrosekunder mellom sending av hver byte så VESC rekker å behandle byten
        k_busy_wait(300);
    }






}
```

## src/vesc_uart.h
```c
#ifndef VESC_UART_H //passer på at fila bare blir inkludert en gang for tryggere kompilering
#define VESC_UART_H 

//HELE VESC_UART.H ER SKREVET AV RAMEEZ SADIQ PROWLTECH 2025

//For å få tilgang til faste heltallstyper
#include <stdint.h> 

//Start-byte som forteller VESC-firmware hvor pakken starter
#define VESC_STX 0x02

//Slutt-byte som forteller VESC-firmware hvor pakken slutter
#define VESC_ETX 0x03

//kommando-ID hentet fra den offisielle VESC-firmwaren, må være riktig ID-nummer for at VESC-enheten skal tolke kommandoen riktig
#define COMM_SET_RPM    8 //Forteller VESC-enheten om hvilken hastighet motor skal ha
#define COMM_FORWARD_CAN    34 //Forteller VESC-enheten om å videresende kommando til en annen enhet via CAN

//Initialiserer UART1 så den er klar for kommunikasjon med VESC
void uart_start(void);

 //Sender en RPM-verdi til master VESC-enhet via UART
void send_rpm(int32_t rpm);

//Master-VESC sender en RPM-verdi til spesifikk VESC-enhet via CAN
void send_rpm_videre(uint8_t node_id, int32_t rpm); 

#endif // VESC_UART_H
```
